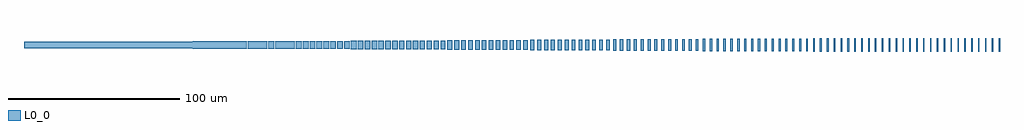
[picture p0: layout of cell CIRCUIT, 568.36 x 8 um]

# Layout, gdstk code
import gdstk
lib = gdstk.Library(unit=1e-6, precision=1e-09)
def R(c, l, rs):  # rectangles x0, y0, x1, y1
    for r in rs: c.add(gdstk.rectangle(r[:2], r[2:], *l))
L0_0 = (0, 0)

circuit = lib.new_cell('CIRCUIT')
R(circuit, L0_0, [(563.64,196,564.36,204), (567.64,196,568.36,204), (559.639,196.001,560.361,203.999), (555.638,196.003,556.362,203.997), (551.636,196.005,552.364,203.995), (547.634,196.007,548.366,203.993), (543.632,196.011,544.368,203.989), (539.629,196.014,540.371,203.986), (535.625,196.019,536.375,203.981), (531.622,196.024,532.378,203.976), (527.617,196.03,528.383,203.97), (523.613,196.036,524.387,203.964), (519.607,196.042,520.393,203.958), (515.602,196.05,516.398,203.95), (511.596,196.058,512.404,203.942), (507.589,196.066,508.411,203.934), (503.582,196.075,504.418,203.925), (499.575,196.084,500.425,203.916), (495.567,196.095,496.433,203.905), (491.559,196.105,492.441,203.895), (487.55,196.116,488.45,203.884), (483.541,196.128,484.459,203.872), (479.532,196.14,480.468,203.86), (475.522,196.153,476.478,203.847), (471.512,196.166,472.488,203.834), (467.502,196.18,468.498,203.82), (463.491,196.194,464.509,203.806), (459.479,196.209,460.521,203.791), (455.468,196.224,456.532,203.776), (451.456,196.239,452.544,203.761), (447.443,196.255,448.557,203.745), (443.431,196.272,444.569,203.728), (439.418,196.289,440.582,203.711), (435.404,196.306,436.596,203.694), (431.391,196.324,432.609,203.676), (427.377,196.342,428.623,203.658), (423.363,196.36,424.637,203.64), (419.348,196.379,420.652,203.621), (415.333,196.399,416.667,203.601), (411.318,196.418,412.682,203.582), (407.303,196.438,408.697,203.562), (403.287,196.458,404.713,203.542), (399.271,196.479,400.729,203.521), (395.255,196.5,396.745,203.5), (391.239,196.521,392.761,203.479), (387.222,196.543,388.778,203.457), (383.205,196.565,384.795,203.435), (379.188,196.587,380.812,203.413), (375.171,196.609,376.829,203.391), (371.154,196.631,372.846,203.369), (367.136,196.654,368.864,203.346), (363.119,196.677,364.881,203.323), (359.101,196.7,360.899,203.3), (355.083,196.724,356.917,203.276), (351.065,196.747,352.935,203.253), (347.047,196.771,348.953,203.229), (343.028,196.794,344.972,203.206), (339.01,196.818,340.99,203.182), (334.991,196.842,337.009,203.158), (330.973,196.866,333.027,203.134), (326.954,196.891,329.046,203.109), (322.936,196.915,325.064,203.085), (318.917,196.939,321.083,203.061), (314.898,196.963,317.102,203.037), (310.879,196.988,313.121,203.012), (306.861,197.012,309.139,202.988), (302.842,197.037,305.158,202.963), (298.823,197.061,301.177,202.939), (294.804,197.085,297.196,202.915), (290.786,197.109,293.214,202.891), (286.767,197.134,289.233,202.866), (282.749,197.158,285.251,202.842), (278.73,197.182,281.27,202.818), (274.712,197.206,277.288,202.794), (270.693,197.229,273.307,202.771), (266.675,197.253,269.325,202.747), (262.657,197.276,265.343,202.724), (258.639,197.3,261.361,202.7), (254.621,197.323,257.379,202.677), (250.604,197.346,253.396,202.654), (246.586,197.369,249.414,202.631), (242.569,197.391,245.431,202.609), (238.552,197.413,241.448,202.587), (234.535,197.435,237.465,202.565), (230.518,197.457,233.482,202.543), (226.501,197.479,229.499,202.521), (222.485,197.5,225.515,202.5), (218.469,197.521,221.531,202.479), (214.453,197.542,217.547,202.458), (210.437,197.562,213.563,202.438), (206.422,197.582,209.578,202.418), (202.407,197.601,205.593,202.399), (198.392,197.621,201.608,202.379), (194.377,197.64,197.623,202.36), (190.363,197.658,193.637,202.342), (186.349,197.676,189.651,202.324), (182.336,197.694,185.664,202.306), (178.322,197.711,181.678,202.289), (174.309,197.728,177.691,202.272), (170.297,197.745,173.703,202.255), (166.284,197.761,169.716,202.239), (162.272,197.776,165.728,202.224), (158.261,197.791,161.739,202.209), (154.249,197.806,157.751,202.194), (150.238,197.82,153.762,202.18), (146.228,197.834,149.772,202.166), (142.218,197.847,145.782,202.153), (138.208,197.86,141.792,202.14), (134.199,197.872,137.801,202.128), (130.19,197.884,133.81,202.116), (126.181,197.895,129.819,202.105), (122.173,197.905,125.827,202.095), (118.165,197.916,121.835,202.084), (114.158,197.925,117.842,202.075), (110.151,197.934,113.849,202.066), (106.144,197.942,109.856,202.058), (102.138,197.95,105.862,202.05), (98.133,197.958,101.867,202.042), (94.127,197.964,97.873,202.036), (90.123,197.97,93.877,202.03), (86.118,197.976,89.882,202.024), (82.115,197.981,85.885,202.019), (78.111,197.986,81.889,202.014), (74.108,197.989,77.892,202.011), (70.106,197.993,73.894,202.007), (66.104,197.995,69.896,202.005), (62.102,197.997,65.898,202.003), (58.101,197.999,61.899,202.001), (0,198,50,202), (50.1,198,53.9,202), (54.1,198,57.9,202)])

lib.write_gds('CIRCUIT.gds')
